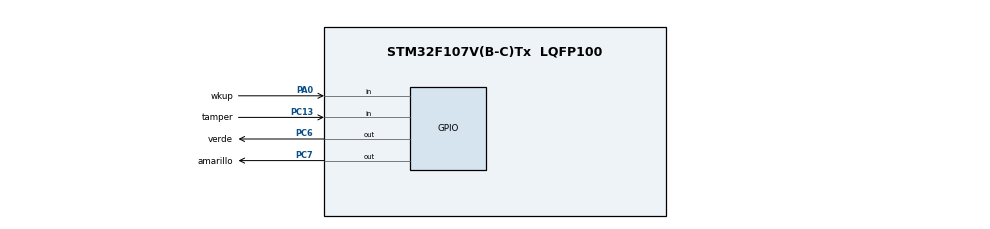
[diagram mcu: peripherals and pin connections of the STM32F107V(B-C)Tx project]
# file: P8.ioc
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FREERTOS.CountingSemaphores01=semaverde,5,Dynamic,NULL;semaamarillo,5,Dynamic,NULL
FREERTOS.Queues01=num_pulsaciones,3,uint16_t,0,Dynamic,NULL,NULL
FREERTOS.Tasks01=defaultTask,24,128,StartDefaultTask,Default,NULL,Dynamic,NULL,NULL;led_verde,24,128,Start_led_verde,Default,NULL,Dynamic,NULL,NULL;led_amarillo,24,128,Start_led_amarillo,Default,NULL,Dynamic,NULL,NULL;control_leds,24,128,Start_control_leds,Default,NULL,Dynamic,NULL,NULL;respuesta,40,128,Start_respuesta,Default,NULL,Dynamic,NULL,NULL
Mcu.Family=STM32F1
Mcu.Name=STM32F107V(B-C)Tx
Mcu.Package=LQFP100
NVIC.PriorityGroup=NVIC_PRIORITYGROUP_4
NVIC.TIM1_UP_IRQn=true\:0\:0\:false\:false\:true\:false\:false\:true
NVIC.TimeBase=TIM1_UP_IRQn
NVIC.TimeBaseIP=TIM1
PA0-WKUP.GPIO_Label=wkup
PA0-WKUP.Signal=GPIO_Input
PC13-TAMPER-RTC.GPIO_Label=tamper
PC13-TAMPER-RTC.Signal=GPIO_Input
PC6.GPIO_Label=verde
PC6.Signal=GPIO_Output
PC7.GPIO_Label=amarillo
PC7.Signal=GPIO_Output
ProjectManager.HeapSize=0x200
ProjectManager.StackSize=0x400
ProjectManager.TargetToolchain=STM32CubeIDE
RCC.USBFreq_Value=10666666.666666666
VP_FREERTOS_VS_CMSIS_V2.Mode=CMSIS_V2
VP_SYS_VS_ND.Mode=No_Debug
VP_SYS_VS_tim1.Mode=TIM1
board=custom

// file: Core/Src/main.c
/* USER CODE BEGIN Header */
/**
  ******************************************************************************
  * @file           : main.c
  * @brief          : Main program body
  ******************************************************************************
  * @attention
  *
  * <h2><center>&copy; Copyright (c) 2021 STMicroelectronics.
  * All rights reserved.</center></h2>
  *
  * This software component is licensed by ST under BSD 3-Clause license,
  * the "License"; You may not use this file except in compliance with the
  * License. You may obtain a copy of the License at:
  *                        opensource.org/licenses/BSD-3-Clause
  *
  ******************************************************************************
  */
/* USER CODE END Header */

#include "main.h"
#include "cmsis_os.h"

/* Definitions for defaultTask */
osThreadId_t defaultTaskHandle;
const osThreadAttr_t defaultTask_attributes = {
  .name = "defaultTask",
  .priority = (osPriority_t) osPriorityNormal,
  .stack_size = 128 * 4
};
/* Definitions for led_verde */
osThreadId_t led_verdeHandle;
const osThreadAttr_t led_verde_attributes = {
  .name = "led_verde",
  .priority = (osPriority_t) osPriorityNormal,
  .stack_size = 128 * 4
};
/* Definitions for led_amarillo */
osThreadId_t led_amarilloHandle;
const osThreadAttr_t led_amarillo_attributes = {
  .name = "led_amarillo",
  .priority = (osPriority_t) osPriorityNormal,
  .stack_size = 128 * 4
};
/* Definitions for control_leds */
osThreadId_t control_ledsHandle;
const osThreadAttr_t control_leds_attributes = {
  .name = "control_leds",
  .priority = (osPriority_t) osPriorityNormal,
  .stack_size = 128 * 4
};
/* Definitions for respuesta */
osThreadId_t respuestaHandle;
const osThreadAttr_t respuesta_attributes = {
  .name = "respuesta",
  .priority = (osPriority_t) osPriorityHigh,
  .stack_size = 128 * 4
};
/* Definitions for num_pulsaciones */
osMessageQueueId_t num_pulsacionesHandle;
const osMessageQueueAttr_t num_pulsaciones_attributes = {
  .name = "num_pulsaciones"
};
/* Definitions for semaverde */
osSemaphoreId_t semaverdeHandle;
const osSemaphoreAttr_t semaverde_attributes = {
  .name = "semaverde"
};
/* Definitions for semaamarillo */
osSemaphoreId_t semaamarilloHandle;
const osSemaphoreAttr_t semaamarillo_attributes = {
  .name = "semaamarillo"
};

void SystemClock_Config(void);
static void MX_GPIO_Init(void);
void StartDefaultTask(void *argument);
void Start_led_verde(void *argument);
void Start_led_amarillo(void *argument);
void Start_control_leds(void *argument);
void Start_respuesta(void *argument);

int main(void)
{

  /* MCU Configuration--------------------------------------------------------*/

  /* Reset of all peripherals, Initializes the Flash interface and the Systick. */
  HAL_Init();

  /* Configure the system clock */
  SystemClock_Config();

  /* Initialize all configured peripherals */
  MX_GPIO_Init();

  /* Init scheduler */
  osKernelInitialize();

  /* Create the semaphores(s) */
  /* creation of semaverde */
  semaverdeHandle = osSemaphoreNew(5, 5, &semaverde_attributes);

  /* creation of semaamarillo */
  semaamarilloHandle = osSemaphoreNew(5, 5, &semaamarillo_attributes);

  /* Create the queue(s) */
  /* creation of num_pulsaciones */
  num_pulsacionesHandle = osMessageQueueNew (3, sizeof(uint16_t), &num_pulsaciones_attributes);

  /* Create the thread(s) */
  /* creation of defaultTask */
  defaultTaskHandle = osThreadNew(StartDefaultTask, NULL, &defaultTask_attributes);

  /* creation of led_verde */
  led_verdeHandle = osThreadNew(Start_led_verde, NULL, &led_verde_attributes);

  /* creation of led_amarillo */
  led_amarilloHandle = osThreadNew(Start_led_amarillo, NULL, &led_amarillo_attributes);

  /* creation of control_leds */
  control_ledsHandle = osThreadNew(Start_control_leds, NULL, &control_leds_attributes);

  /* creation of respuesta */
  respuestaHandle = osThreadNew(Start_respuesta, NULL, &respuesta_attributes);

  /* Start scheduler */
  osKernelStart();

  /* We should never get here as control is now taken by the scheduler */
  /* Infinite loop */
  while (1)
  {

  }
}

void SystemClock_Config(void)
{
  RCC_OscInitTypeDef RCC_OscInitStruct = {0};
  RCC_ClkInitTypeDef RCC_ClkInitStruct = {0};

  /** Initializes the CPU, AHB and APB busses clocks
  */
  RCC_OscInitStruct.OscillatorType = RCC_OSCILLATORTYPE_HSI;
  RCC_OscInitStruct.HSIState = RCC_HSI_ON;
  RCC_OscInitStruct.HSICalibrationValue = RCC_HSICALIBRATION_DEFAULT;
  RCC_OscInitStruct.PLL.PLLState = RCC_PLL_NONE;
  RCC_OscInitStruct.PLL2.PLL2State = RCC_PLL_NONE;
  if (HAL_RCC_OscConfig(&RCC_OscInitStruct) != HAL_OK)
  {
    Error_Handler();
  }
  /** Initializes the CPU, AHB and APB busses clocks
  */
  RCC_ClkInitStruct.ClockType = RCC_CLOCKTYPE_HCLK|RCC_CLOCKTYPE_SYSCLK
                              |RCC_CLOCKTYPE_PCLK1|RCC_CLOCKTYPE_PCLK2;
  RCC_ClkInitStruct.SYSCLKSource = RCC_SYSCLKSOURCE_HSI;
  RCC_ClkInitStruct.AHBCLKDivider = RCC_SYSCLK_DIV1;
  RCC_ClkInitStruct.APB1CLKDivider = RCC_HCLK_DIV1;
  RCC_ClkInitStruct.APB2CLKDivider = RCC_HCLK_DIV1;

  if (HAL_RCC_ClockConfig(&RCC_ClkInitStruct, FLASH_LATENCY_0) != HAL_OK)
  {
    Error_Handler();
  }
  /** Configure the Systick interrupt time
  */
  __HAL_RCC_PLLI2S_ENABLE();
}

static void MX_GPIO_Init(void)
{
  GPIO_InitTypeDef GPIO_InitStruct = {0};

  /* GPIO Ports Clock Enable */
  __HAL_RCC_GPIOC_CLK_ENABLE();
  __HAL_RCC_GPIOA_CLK_ENABLE();

  /*Configure GPIO pin Output Level */
  HAL_GPIO_WritePin(GPIOC, verde_Pin|amarillo_Pin, GPIO_PIN_RESET);

  /*Configure GPIO pin : tamper_Pin */
  GPIO_InitStruct.Pin = tamper_Pin;
  GPIO_InitStruct.Mode = GPIO_MODE_INPUT;
  GPIO_InitStruct.Pull = GPIO_NOPULL;
  HAL_GPIO_Init(tamper_GPIO_Port, &GPIO_InitStruct);

  /*Configure GPIO pin : wkup_Pin */
  GPIO_InitStruct.Pin = wkup_Pin;
  GPIO_InitStruct.Mode = GPIO_MODE_INPUT;
  GPIO_InitStruct.Pull = GPIO_NOPULL;
  HAL_GPIO_Init(wkup_GPIO_Port, &GPIO_InitStruct);

  /*Configure GPIO pins : verde_Pin amarillo_Pin */
  GPIO_InitStruct.Pin = verde_Pin|amarillo_Pin;
  GPIO_InitStruct.Mode = GPIO_MODE_OUTPUT_PP;
  GPIO_InitStruct.Pull = GPIO_NOPULL;
  GPIO_InitStruct.Speed = GPIO_SPEED_FREQ_LOW;
  HAL_GPIO_Init(GPIOC, &GPIO_InitStruct);

}

void StartDefaultTask(void *argument)
{
  for(;;)
  {
    osDelay(1);
  }
}

void Start_led_verde(void *argument)
{
  /* USER CODE BEGIN Start_led_verde */
  /* Infinite loop */
	for(;;)
	{
		osSemaphoreAcquire (semaverdeHandle,0xFFFFFFFF);
		HAL_GPIO_WritePin(GPIOC, verde_Pin, GPIO_PIN_SET);
		osDelay(200);
		HAL_GPIO_WritePin(GPIOC, verde_Pin, GPIO_PIN_RESET);
		osDelay(200);
	}
  /* USER CODE END Start_led_verde */
}

void Start_led_amarillo(void *argument)
{
  /* USER CODE BEGIN Start_led_amarillo */
	/* Infinite loop */
	for(;;)
	{
		osSemaphoreAcquire (semaamarilloHandle,0xFFFFFFFF);
		HAL_GPIO_WritePin(GPIOC, amarillo_Pin, GPIO_PIN_SET);
		osDelay(200);
		HAL_GPIO_WritePin(GPIOC, amarillo_Pin, GPIO_PIN_RESET);
		osDelay(200);
	}
  /* USER CODE END Start_led_amarillo */
}

//void Start_control_leds(void *argument)
//{
//	/* USER CODE BEGIN Start_control_leds */
//	/* Infinite loop */
//	unsigned short respuesta; //enteros de 16 bits sin signo
//	while (HAL_GPIO_ReadPin(GPIOC, tamper_Pin) == 0)
//		osDelay(100);
//	osMessageQueueReset (num_pulsacionesHandle);
//	for (;;) {
//		osMessageQueueGet(num_pulsacionesHandle, &respuesta, 0, 0xFFFFFFFF);
//		if (respuesta % 2 == 0) {
//			HAL_GPIO_WritePin(GPIOC, amarillo_Pin, GPIO_PIN_RESET);
//			HAL_GPIO_WritePin(GPIOC, verde_Pin, GPIO_PIN_SET);
//		} else {
//			HAL_GPIO_WritePin(GPIOC, verde_Pin, GPIO_PIN_RESET);
//			HAL_GPIO_WritePin(GPIOC, amarillo_Pin, GPIO_PIN_SET);
//		}
//		osDelay(2000);
//		HAL_GPIO_WritePin(GPIOC, verde_Pin, GPIO_PIN_RESET);
//		HAL_GPIO_WritePin(GPIOC, amarillo_Pin, GPIO_PIN_RESET);
//		osDelay(10); //dejar esta línea fuera del if en la fase 4
//	}
//	/* USER CODE END Start_control_leds */
//}

void Start_control_leds(void *argument)
{
	/* USER CODE BEGIN Start_control_leds */
	/* Infinite loop */
	unsigned short i, numInterVerde, numInterAmarillo, respuesta;
	while(HAL_GPIO_ReadPin(GPIOC, tamper_Pin)==0)
		osDelay(50);
	for (;;) {
		if (HAL_GPIO_ReadPin(GPIOC, tamper_Pin) == 0) {
			numInterVerde = osKernelGetTickCount();
			numInterAmarillo = numInterVerde%5;
			numInterVerde = (numInterVerde/100)%5;
			numInterAmarillo++;
			numInterVerde++;
			for (i = 0; i < numInterVerde; i++)
				osSemaphoreRelease(semaverdeHandle);
			for (i = 0; i < numInterAmarillo; i++)
				osSemaphoreRelease(semaamarilloHandle);
			osMessageQueueGet(num_pulsacionesHandle, &respuesta, 0, 0xFFFFFFFF);
			if(respuesta == numInterVerde+numInterAmarillo){
				HAL_GPIO_WritePin(GPIOC, verde_Pin, GPIO_PIN_SET);
				osDelay(1000);
			}else{
				HAL_GPIO_WritePin(GPIOC, amarillo_Pin, GPIO_PIN_SET);
				osDelay(1000);
			}
			osDelay(1000);
			HAL_GPIO_WritePin(GPIOC, amarillo_Pin, GPIO_PIN_RESET);
			HAL_GPIO_WritePin(GPIOC, verde_Pin, GPIO_PIN_RESET);
		}
		osDelay(10);
	}
	/* USER CODE END Start_control_leds */
}

void Start_respuesta(void *argument)
{
	/* USER CODE BEGIN Start_respuesta */
	/* Infinite loop */
	unsigned short conta;
	for(;;)
	{
		if (HAL_GPIO_ReadPin(GPIOA, wkup_Pin) == 1) {
			conta++;
			while (HAL_GPIO_ReadPin(GPIOA, wkup_Pin) == 1)
				osDelay(10);
		}
		if (HAL_GPIO_ReadPin(GPIOC, tamper_Pin) == 0 && conta!=0) {
			osMessageQueuePut(num_pulsacionesHandle,&conta,0,0);
			conta = 0;
		}
		osDelay(10);
	}
	/* USER CODE END Start_respuesta */
}

 /**
  * @brief  Period elapsed callback in non blocking mode
  * @note   This function is called  when TIM1 interrupt took place, inside
  * HAL_TIM_IRQHandler(). It makes a direct call to HAL_IncTick() to increment
  * a global variable "uwTick" used as application time base.
  * @param  htim : TIM handle
  * @retval None
  */
void HAL_TIM_PeriodElapsedCallback(TIM_HandleTypeDef *htim)
{
  if (htim->Instance == TIM1) {
    HAL_IncTick();
  }
}

void Error_Handler(void)
{
}

/************************ (C) COPYRIGHT STMicroelectronics *****END OF FILE****/
